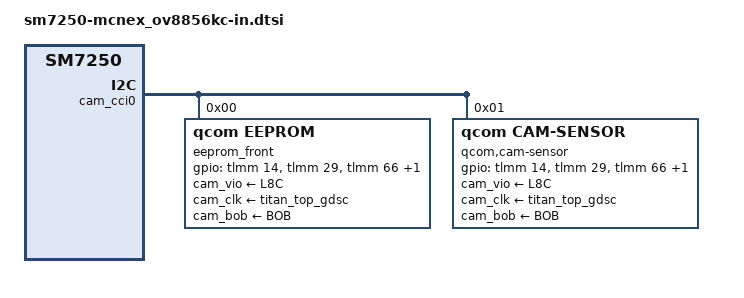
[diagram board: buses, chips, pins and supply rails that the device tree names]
#include <dt-bindings/clock/qcom,camcc-lito.h>

&cam_cci0 {
	eeprom_front: qcom,eeprom@1 {
		cell-index = <1>;
		reg = <0>;
		compatible = "qcom,eeprom";
		cam_vio-supply = <&L8C>;
		cam_clk-supply = <&titan_top_gdsc>;
		cam_bob-supply = <&BOB>;
		regulator-names = "cam_vio", "cam_clk", "cam_bob";
		rgltr-cntrl-support;
		rgltr-min-voltage = <1800000 0 3008000>;
		rgltr-max-voltage = <1800000 0 3960000>;
		rgltr-load-current = <80000 0 2000000>;
		gpio-no-mux = <0>;
		pinctrl-names = "cam_default", "cam_suspend";
		pinctrl-0 = <&kc_cam_sensor_mclk1_active
				 &kc_cam_sensor_active_front>;
		pinctrl-1 = <&kc_cam_sensor_mclk1_suspend
				 &kc_cam_sensor_suspend_front>;
		gpios = <&tlmm 14 GPIO_ACTIVE_HIGH>,
			<&tlmm 29 GPIO_ACTIVE_HIGH>,
			<&tlmm 66 GPIO_ACTIVE_HIGH>,
			<&tlmm 25 GPIO_ACTIVE_HIGH>;
		gpio-reset = <1>;
		gpio-custom1 = <2>;
		gpio-custom2 = <3>;
		gpio-req-tbl-num = <0 1 2 3>;
		gpio-req-tbl-flags = <1 0 0 0>;
		gpio-req-tbl-label = "CAMIF_MCLK1",
					"CAM_RESET1",
					"CAM_AVDD1",
					"CAM_DVDD1";
		sensor-position = <0>;
		sensor-mode = <0>;
		cci-master = <1>;
		status="ok";
		clocks = <&camcc CAM_CC_MCLK1_CLK>;
		clock-names = "cam_clk";
		clock-cntl-level = "turbo";
		clock-rates = <24000000>;
	};

	qcom,cam-sensor@1 {
		cell-index = <1>;
		compatible = "qcom,cam-sensor";
		reg = <0x1>;
		csiphy-sd-index = <1>;
		sensor-position-roll = <270>;
		sensor-position-pitch = <0>;
		sensor-position-yaw = <0>;
		eeprom-src = <&eeprom_front>;
		cam_vio-supply = <&L8C>;
		cam_clk-supply = <&titan_top_gdsc>;
		cam_bob-supply = <&BOB>;
		regulator-names = "cam_vio", "cam_clk", "cam_bob";
		rgltr-cntrl-support;
		pwm-switch;
		rgltr-min-voltage = <1800000 0 3008000>;
		rgltr-max-voltage = <1800000 0 3960000>;
		rgltr-load-current = <80000 0 2000000>;
		gpio-no-mux = <0>;
		pinctrl-names = "cam_default", "cam_suspend";
		pinctrl-0 = <&kc_cam_sensor_mclk1_active
				&kc_cam_sensor_active_front>;
		pinctrl-1 = <&kc_cam_sensor_mclk1_suspend
				&kc_cam_sensor_suspend_front>;
		gpios = <&tlmm 14 GPIO_ACTIVE_HIGH>,
			<&tlmm 29 GPIO_ACTIVE_HIGH>,
			<&tlmm 66 GPIO_ACTIVE_HIGH>,
			<&tlmm 25 GPIO_ACTIVE_HIGH>;
		gpio-reset = <1>;
		gpio-custom1 = <2>;
		gpio-custom2 = <3>;
		gpio-req-tbl-num = <0 1 2 3>;
		gpio-req-tbl-flags = <1 0 0 0>;
		gpio-req-tbl-label = "CAMIF_MCLK1",
					"CAM_RESET1",
					"CAM_AVDD1",
					"CAM_DVDD1";
		sensor-mode = <0>;
		cci-master = <1>;
		status = "ok";
		clocks = <&camcc CAM_CC_MCLK1_CLK>;
		clock-names = "cam_clk";
		clock-cntl-level = "turbo";
		clock-rates = <24000000>;
	};
};


&tlmm {
	kc_cam_sensor_mclk1_active: kc_cam_sensor_mclk1_active {
		/* MCLK1 */
		mux {
			pins = "gpio14";
			function = "cam_mclk";
		};

		config {
			pins = "gpio14";
			bias-disable; /* No PULL */
			drive-strength = <6>; /* 6 mA */
		};
	};

	kc_cam_sensor_mclk1_suspend: kc_cam_sensor_mclk1_suspend {
		/* MCLK1 */
		mux {
			pins = "gpio14";
			function = "gpio";
		};

		config {
			pins = "gpio14";
			bias-disable; /* No PULL */
			drive-strength = <6>; /* 6 mA */
			output-low;
		};
	};

	kc_cam_sensor_active_front: kc_cam_sensor_active_front {
		/* RESET FRONT */
		mux {
			pins = "gpio29";
			function = "gpio";
		};

		config {
			pins = "gpio29";
			bias-disable; /* No PULL */
			drive-strength = <2>; /* 2 mA */
		};
	};

	kc_cam_sensor_suspend_front: kc_cam_sensor_suspend_front {
		/* RESET FRONT */
		mux {
			pins = "gpio29";
			function = "gpio";
		};

		config {
			pins = "gpio29";
			bias-disable; /* No PULL */
			drive-strength = <2>; /* 2 mA */
			output-low;
		};
	};
};

